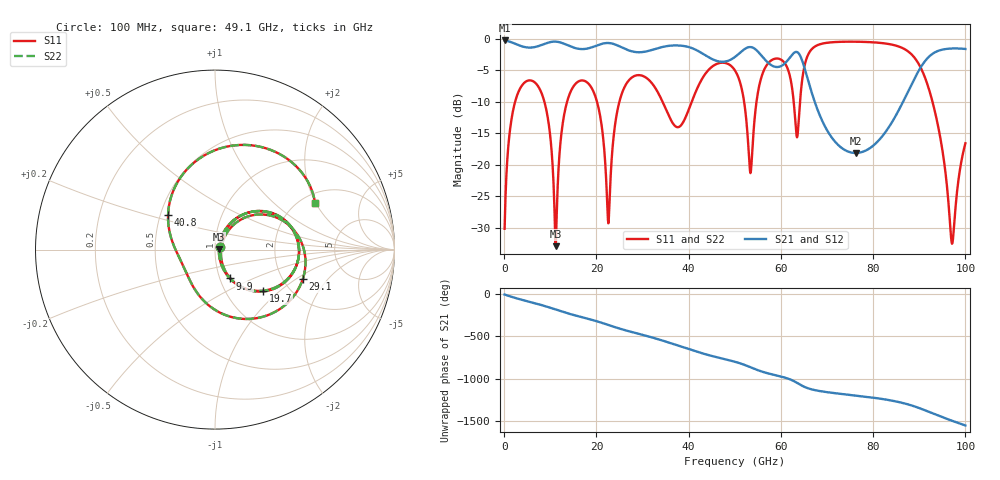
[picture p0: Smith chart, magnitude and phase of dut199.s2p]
! Touchstone file exported from HFSS 2026.1.0
!  File:  C:/ffzhzh/LocalFiles/Ansys_Project_Files/temp_test_TSV_RDL_199_1783480628_46308.aedt
!  Generated:  11:43:50 AM Jul  8, 2026
!  Design:  TSV_RDL
!  Project:  temp_test_TSV_RDL_199_1783480628_46308
! Variables:
!  h_bsmrdl = 2.24um
!  h_ox = 20um
!  h_rdl = 5um
!  h_sub = 93.39um
!  h_tmrdl = 3.46um
!  h_tsv = 93.39um
!  h_via = 3um
!  l_bsmrdl = 642.12um
!  l_sub = 5191.05um
!  l_tmrdl = 679.37um
!  m_sub = 200um
!  pitch = 51.52um
!  r_tsv = 13.95um
!  s_tmrdl = 10um
!  w_bsmrdl = 19.28um
!  w_sub = 500um
!  w_tmrdl = 29.79um
!  x_tsv_center1 = 694.265um
!  x_tsv_center2 = 1355.665um
!  x_tsv_center3 = 2064.825um
!  x_tsv_center4 = 2726.225um
!  x_tsv_center5 = 3435.385um
!  x_tsv_center6 = 4096.785um
# GHz S MA R 50.000000
! Terminal data exported
! Port[1] = TM_RDL1_1_T1
! Port[2] = TM_RDL5_1_T1
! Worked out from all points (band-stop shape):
!   1000 points, 100 MHz to 100 GHz, reference 50 ohm
!   highest |S21| = -0.23 dB at 100 MHz (marker M1); lowest = -18.1 dB at 76.2 GHz (marker M2)
!   |S21| within 3 dB of the highest: start of sweep to 45.2 GHz; 91.57 GHz to end of sweep (the widest 2 of 4)
!   lowest |S11| = -33.0 dB at 11.2 GHz (marker M3), VSWR 1.05, Z = 52.3 + j0.382 ohm
!   |S11| at or under -10 dB: 8.732 GHz to 13.64 GHz (4.907 GHz wide, 43.9 % of centre); 34.35 GHz to 40.66 GHz (6.314 GHz wide, 16.8 % of centre); 92.87 GHz to end of sweep (the widest 3 of 7)
!   |S22| runs from -33.3 to -0.4 dB; largest |S21 - S12| = 8.3e-14
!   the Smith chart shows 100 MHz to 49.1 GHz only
!   S11 on the Smith chart (normalised r, x): 100 MHz: 1.05, +0.03; 9.9 GHz: 1.12, -0.37; 19.7 GHz: 1.48, -0.79; 29.1 GHz: 2.56, -1.14; 40.8 GHz: 0.55, +0.24; 49.1 GHz: 2.36, +1.98
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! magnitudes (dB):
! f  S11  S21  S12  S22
! 100 MHz  -30.2  -0.2  -0.2  -30.2
! 3.6 GHz  -7.7  -1.1  -1.1  -7.7
! 9.9 GHz  -14.8  -0.5  -0.5  -14.8
! 11.2 GHz  -33.0  -0.4  -0.4  -33.1
! 13.2 GHz  -11.3  -0.8  -0.8  -11.3
! 16.8 GHz  -6.6  -1.6  -1.6  -6.6
! 19.7 GHz  -9.0  -1.1  -1.1  -9.0
! 22.6 GHz  -29.3  -0.6  -0.6  -29.4
! 29.1 GHz  -5.7  -2.1  -2.1  -5.7
! 33.4 GHz  -8.6  -1.4  -1.4  -8.6
! 40.8 GHz  -9.7  -1.5  -1.5  -9.7
! 49.1 GHz  -4.2  -3.3  -3.3  -4.2
! 50.1 GHz  -5.1  -2.8  -2.8  -5.1
! 53.4 GHz  -21.3  -1.3  -1.3  -21.3
! 56.7 GHz  -4.4  -3.4  -3.4  -4.4
! 63.5 GHz  -15.7  -2.1  -2.1  -15.6
! 66.7 GHz  -1.6  -8.6  -8.6  -1.6
! 76.2 GHz  -0.4  -18.1  -18.1  -0.4
! 83.4 GHz  -0.8  -14.0  -14.0  -0.8
! 91.8 GHz  -7.3  -3.0  -3.0  -7.3
! 97.1 GHz  -32.6  -1.5  -1.5  -33.3
! 100 GHz  -16.6  -1.6  -1.6  -16.6
